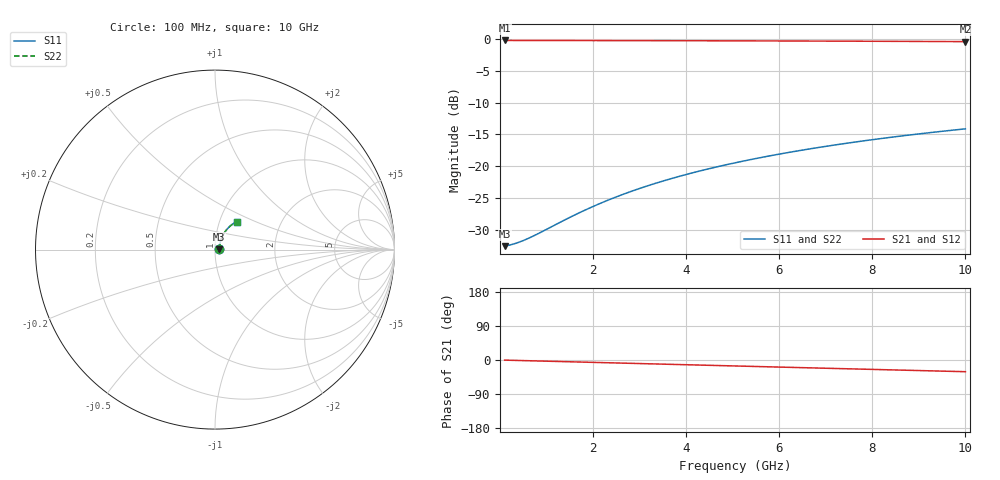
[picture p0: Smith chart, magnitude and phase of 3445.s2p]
# Hz S RI R 50.00
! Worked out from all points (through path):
!   100 points, 100 MHz to 10 GHz, reference 50 ohm
!   highest |S21| = -0.20 dB at 100 MHz (marker M1); lowest = -0.4 dB at 10 GHz (marker M2)
!   group delay of S21, straight-line fit = 8.58 ps
!   lowest |S11| = -32.6 dB at 100 MHz (marker M3), VSWR 1.05, Z = 52.4 + j0.205 ohm
!   |S11| at or under -10 dB: start of sweep to end of sweep
!   |S22| runs from -32.6 to -14.1 dB; largest |S21 - S12| = 0
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1e8  0.0233 0.00195  0.9767 -0.00533  0.9767 -0.00533  0.0233 0.00195
2e8  0.0235 0.0039  0.9765 -0.0107  0.9765 -0.0107  0.0235 0.0039
3e8  0.0236 0.00585  0.9763 -0.016  0.9763 -0.016  0.0236 0.00585
4e8  0.0238 0.0078  0.9761 -0.0213  0.9761 -0.0213  0.0238 0.0078
6e8  0.0242 0.0117  0.9756 -0.032  0.9756 -0.032  0.0242 0.0117
8e8  0.0246 0.0156  0.975 -0.0426  0.975 -0.0426  0.0246 0.0156
1.5e9  0.0266 0.029  0.9721 -0.0797  0.9721 -0.0797  0.0266 0.029
1.8e9  0.0277 0.0348  0.9703 -0.0956  0.9703 -0.0956  0.0277 0.0348
2.2e9  0.0296 0.0423  0.9676 -0.1166  0.9676 -0.1166  0.0296 0.0423
2.6e9  0.0317 0.0498  0.9643 -0.1376  0.9643 -0.1376  0.0317 0.0498
3e9  0.0341 0.0572  0.9606 -0.1585  0.9606 -0.1585  0.0341 0.0572
3.4e9  0.0369 0.0644  0.9563 -0.1792  0.9563 -0.1792  0.0369 0.0644
3.8e9  0.04 0.0715  0.9516 -0.1998  0.9516 -0.1998  0.04 0.0715
4.2e9  0.0433 0.0785  0.9463 -0.2202  0.9463 -0.2202  0.0433 0.0785
4.6e9  0.047 0.0853  0.9406 -0.2405  0.9406 -0.2405  0.047 0.0853
5.1e9  0.052 0.0935  0.9328 -0.2655  0.9328 -0.2655  0.052 0.0935
5.9e9  0.0609 0.106  0.9188 -0.3049  0.9188 -0.3049  0.0609 0.106
6.7e9  0.0708 0.1177  0.903 -0.3434  0.903 -0.3434  0.0708 0.1177
7.5e9  0.0816 0.1285  0.8855 -0.3809  0.8855 -0.3809  0.0816 0.1285
8.4e9  0.0948 0.1394  0.8639 -0.4217  0.8639 -0.4217  0.0948 0.1394
9.2e9  0.1072 0.1479  0.8431 -0.4568  0.8431 -0.4568  0.1072 0.1479
1e10  0.1204 0.1553  0.8208 -0.4906  0.8208 -0.4906  0.1204 0.1553
